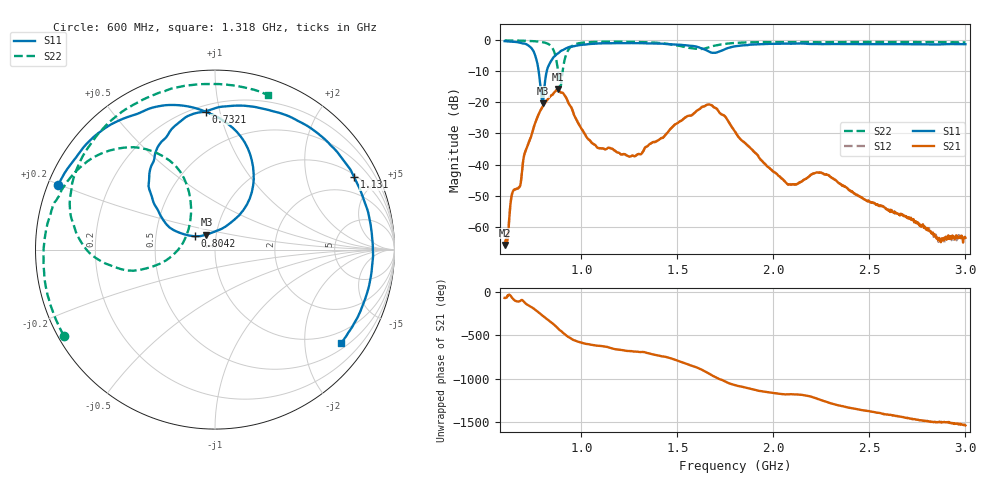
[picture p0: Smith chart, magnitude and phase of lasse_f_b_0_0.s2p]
#  HZ  S  RI  R  50.00
! Rohde & Schwarz ZVB8 2Ports - Version 2.81 - 1145.1010k08 SN: 100113
! Date: 2016-05-04 02:49:29
! Measurements: S11 S21 S12 S22
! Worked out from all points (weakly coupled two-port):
!   1000 points, 600 MHz to 3 GHz, reference 50 ohm
!   highest |S21| = -15.86 dB at 876.3 MHz (marker M1); lowest = -65.7 dB at 600 MHz (marker M2)
!   lowest |S11| = -20.4 dB at 799.4 MHz (marker M3), VSWR 1.21, Z = 44.9 + j7.49 ohm
!   |S11| at or under -10 dB: 777.2 MHz to 819.8 MHz (42.6 MHz wide, 5.34 % of centre)
!   |S22| runs from -15.0 to -0.3 dB; largest |S21 - S12| = 0.0017
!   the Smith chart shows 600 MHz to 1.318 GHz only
!   S11 on the Smith chart (normalised r, x): 600 MHz: 0.03, +0.20; 732.1 MHz: 0.24, +0.91; 804.2 MHz: 0.79, +0.12; 1.131 GHz: 1.10, +3.79; 1.318 GHz: 0.64, -2.89
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6e8  -0.8735 0.3606  0.000143 -0.000497  9.34e-05 -0.000485  -0.8434 -0.4792
6.408408e8  -0.736 0.5657  0.000823 -0.00347  0.000769 -0.00346  -0.9093 -0.3283
7.321321e8  -0.0523 0.7684  -0.0248 -0.00438  -0.0249 -0.00435  -0.9508 0.0469
7.657658e8  0.2153 0.4255  -0.0404 0.0338  -0.0406 0.033  -0.9139 0.2067
7.993994e8  -0.0477 0.0828  0.0136 0.0846  0.0129 0.0849  -0.8319 0.3665
8.042042e8  -0.1138 0.0742  0.0264 0.0861  0.0259 0.0863  -0.8129 0.392
8.498498e8  -0.3662 0.3356  0.1305 -0.0158  0.1305 -0.0151  -0.4513 0.5705
8.762763e8  -0.3433 0.4888  0.0824 -0.1385  0.0832 -0.1379  -0.1442 0.3174
8.930931e8  -0.3147 0.5789  -0.00451 -0.142  -0.00295 -0.1419  -0.1792 0.036
9.147147e8  -0.2428 0.6701  -0.0844 -0.0931  -0.0839 -0.0933  -0.4915 -0.1162
1.001201e9  0.2203 0.7952  -0.0253 0.0271  -0.0254 0.027  -0.775 0.4374
1.130931e9  0.7757 0.4036  0.00118 0.0177  0.00104 0.0179  -0.4048 0.8339
1.318318e9  0.7025 -0.5231  0.014 0.00722  0.014 0.00733  0.2975 0.8632
1.4e9  0.3839 -0.7725  0.0237 -0.00579  0.0238 -0.00568  0.5682 0.6823
1.661862e9  -0.5013 -0.4141  -0.0733 0.0551  -0.0735 0.0548  0.749 0.0241
1.801201e9  -0.7317 -0.2811  0.0332 0.00258  0.0332 0.00277  0.7539 -0.4623
2.075075e9  -0.5089 0.6953  -0.000717 -0.00475  -0.000669 -0.00478  -0.0437 -0.9095
2.2e9  -0.0236 0.851  -0.00436 -0.00548  -0.00428 -0.00548  -0.4042 -0.8166
2.423423e9  0.7503 0.3981  -0.000304 0.00337  -0.000335 0.00337  -0.8149 -0.4197
2.601201e9  0.7689 -0.3522  0.00161 0.00084  0.00165 0.000851  -0.9172 -0.0108
2.795796e9  0.1627 -0.8239  0.000631 -0.000655  0.000665 -0.000631  -0.8118 0.415
3e9  -0.5442 -0.6461  -7.14e-05 -0.000667  -2.66e-05 -0.000658  -0.5074 0.7457
